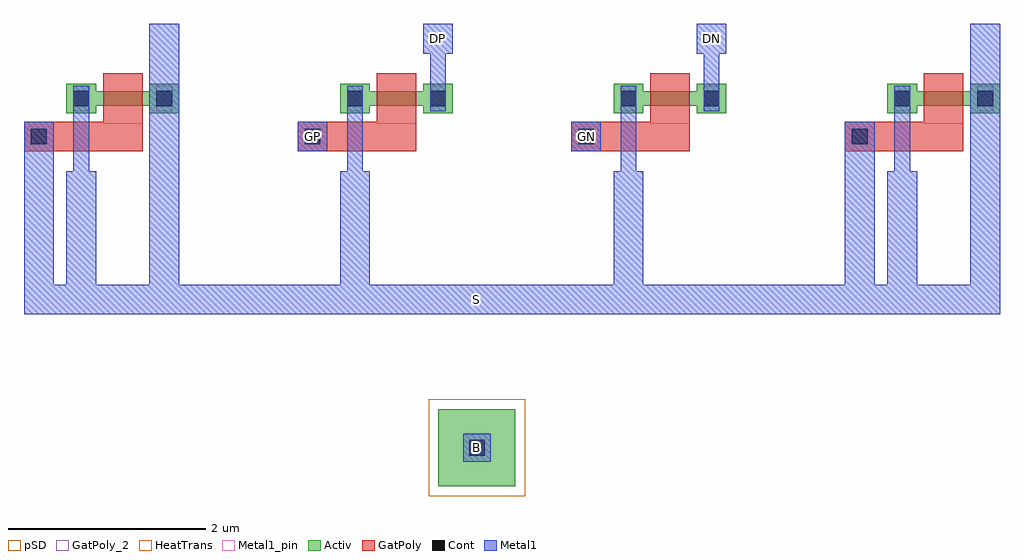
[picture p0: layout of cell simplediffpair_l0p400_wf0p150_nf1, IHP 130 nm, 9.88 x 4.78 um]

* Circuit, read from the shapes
.subckt simplediffpair_l0p400_wf0p150_nf1 B DN DP GN GP S
XM1 S S S B sg13_lv_nmos w=0.15u l=0.4u m=2
XM2 DP GP S B sg13_lv_nmos w=0.15u l=0.4u
XM3 DN GN S B sg13_lv_nmos w=0.15u l=0.4u
.ends

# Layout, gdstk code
import gdstk
lib = gdstk.Library(unit=1e-6, precision=1e-09)
def R(c, l, rs):  # rectangles x0, y0, x1, y1
    for r in rs: c.add(gdstk.rectangle(r[:2], r[2:], *l))
def A(c, l, x, y, w, h, nx, ny, dx, dy):  # array of equal rectangles
    R(c, l, [(x+i*dx, y+j*dy, x+i*dx+w, y+j*dy+h) for i in range(nx) for j in range(ny)])
Activ = (1, 0)
GatPoly = (5, 0)
GatPoly_2 = (5, 2)
Cont = (6, 0)
Metal1 = (8, 0)
Metal1_pin = (8, 2)
pSD = (14, 0)
HeatTrans = (51, 0)

unnamed_1 = lib.new_cell('Unnamed_1')
R(unnamed_1, Activ, [(0,0,0.3,0.3), (0.84,0,1.14,0.3), (0,0.075,1.14,0.225)])
R(unnamed_1, GatPoly, [(0.37,-0.105,0.77,0.405)])
R(unnamed_1, GatPoly_2, [(0.37,-0.105,0.77,0.405)])
R(unnamed_1, Cont, [(0.07,0.07,0.23,0.23), (0.91,0.07,1.07,0.23)])
R(unnamed_1, Metal1, [(0.07,0.02,0.23,0.28), (0.91,0.02,1.07,0.28)])
R(unnamed_1, Metal1_pin, [(0.07,0.02,0.23,0.28), (0.91,0.02,1.07,0.28)])
R(unnamed_1, HeatTrans, [(0.37,-0.105,0.77,0.405)])

nmos_bussed_l0p400_wf0p1 = lib.new_cell('nmos_bussed_l0p400_wf0p150_nf1')
R(nmos_bussed_l0p400_wf0p1, GatPoly, [(-0.43,-0.385,0.77,-0.085)])
R(nmos_bussed_l0p400_wf0p1, Cont, [(-0.36,-0.315,-0.2,-0.155)])
R(nmos_bussed_l0p400_wf0p1, Metal1, [(0,-0.885,0.3,-0.585), (0.07,-0.885,0.23,0.02), (-0.43,-0.385,-0.13,-0.085), (0.91,0.28,1.07,0.905), (0.84,0.605,1.14,0.905)])
nmos_bussed_l0p400_wf0p1.add(gdstk.Reference(unnamed_1, (0,0)))

rectangle_gdsfactorypcom = lib.new_cell('rectangle_gdsfactorypcomponentspshapesprectangle_S0p78__3b728210')
R(rectangle_gdsfactorypcom, Activ, [(-0.39,-0.39,0.39,0.39)])

c_rectangle_gdsfactorypcom = lib.new_cell('rectangle_gdsfactorypcomponentspshapesprectangle_S0p98__52493dee')
R(c_rectangle_gdsfactorypcom, pSD, [(-0.49,-0.49,0.49,0.49)])

c_rectangle_gdsfactorypcom_ = lib.new_cell('rectangle_gdsfactorypcomponentspshapesprectangle_S0p16__fbf0290e')
R(c_rectangle_gdsfactorypcom_, Cont, [(-0.08,-0.08,0.08,0.08)])

c_rectangle_gdsfactorypcom__ = lib.new_cell('rectangle_gdsfactorypcomponentspshapesprectangle_S0p28__2625054a')
R(c_rectangle_gdsfactorypcom__, Metal1, [(-0.14,-0.14,0.14,0.14)])

ptap1_w0p78_l0p78_r1_c1_ = lib.new_cell('ptap1_W0p78_L0p78_R1_C1_LAActivdrawing_LPpSDdrawing_LCC_4fcb2fed')
ptap1_w0p78_l0p78_r1_c1_.add(gdstk.Reference(rectangle_gdsfactorypcom, (0,0)))
ptap1_w0p78_l0p78_r1_c1_.add(gdstk.Reference(c_rectangle_gdsfactorypcom, (0,0)))
ptap1_w0p78_l0p78_r1_c1_.add(gdstk.Reference(c_rectangle_gdsfactorypcom_, (0,0)))
ptap1_w0p78_l0p78_r1_c1_.add(gdstk.Reference(c_rectangle_gdsfactorypcom__, (0,0)))

simplediffpair_l0p400_wf = lib.new_cell('simplediffpair_l0p400_wf0p150_nf1')
A(simplediffpair_l0p400_wf, Metal1, -4.155, -2.035, 0.3, 1.45, 4, 1, 2.77, 0)
R(simplediffpair_l0p400_wf, Metal1, [(-4.585,-2.035,-4.285,-0.085), (-4.585,-2.035,0.15,-1.735), (-4.155,-2.035,0.15,-1.735), (-3.315,-2.035,-3.015,0.905), (-3.315,-2.035,0.15,-1.735), (-1.385,-2.035,0.15,-1.735), (-0.15,-2.035,1.685,-1.735), (-0.15,-2.035,4.455,-1.735), (-0.15,-2.035,5.295,-1.735), (-0.15,-2.035,4.025,-1.735), (3.725,-2.035,4.025,-0.085), (4.995,-2.035,5.295,0.905)])
simplediffpair_l0p400_wf.add(gdstk.Reference(nmos_bussed_l0p400_wf0p1, (-1.385,0)))
simplediffpair_l0p400_wf.add(gdstk.Reference(nmos_bussed_l0p400_wf0p1, (1.385,0)))
simplediffpair_l0p400_wf.add(gdstk.Reference(nmos_bussed_l0p400_wf0p1, (-4.155,0)))
simplediffpair_l0p400_wf.add(gdstk.Reference(nmos_bussed_l0p400_wf0p1, (4.155,0)))
simplediffpair_l0p400_wf.add(gdstk.Reference(ptap1_w0p78_l0p78_r1_c1_, (0,-3.385)))
simplediffpair_l0p400_wf.add(gdstk.Label('DP', (-0.395,0.755), layer=8, texttype=2))
simplediffpair_l0p400_wf.add(gdstk.Label('DN', (2.375,0.755), layer=8, texttype=2))
simplediffpair_l0p400_wf.add(gdstk.Label('GP', (-1.665,-0.235), layer=8, texttype=2))
simplediffpair_l0p400_wf.add(gdstk.Label('GN', (1.105,-0.235), layer=8, texttype=2))
simplediffpair_l0p400_wf.add(gdstk.Label('S', (0,-1.885), layer=8, texttype=2))
simplediffpair_l0p400_wf.add(gdstk.Label('B', (0,-3.385), layer=8, texttype=2))

lib.write_gds('simplediffpair_l0p400_wf0p150_nf1.gds')
